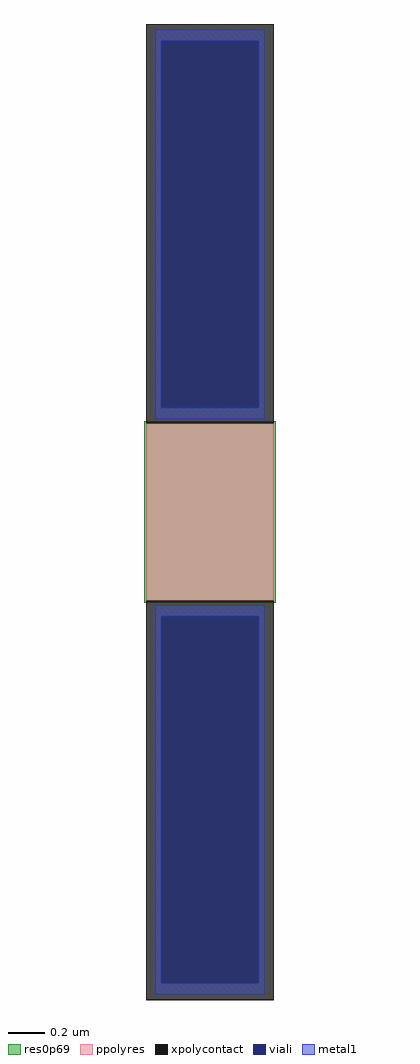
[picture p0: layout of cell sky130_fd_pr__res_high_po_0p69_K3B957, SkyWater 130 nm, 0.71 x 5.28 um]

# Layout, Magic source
magic
tech sky130A
magscale 1 2
<< xpolycontact >>
rect -69 96 69 528
rect -69 -528 69 -96
<< ppolyres >>
rect -69 -96 69 96
<< viali >>
rect -53 113 53 510
rect -53 -510 53 -113
<< metal1 >>
rect -59 510 59 522
rect -59 113 -53 510
rect 53 113 59 510
rect -59 101 59 113
rect -59 -113 59 -101
rect -59 -510 -53 -113
rect 53 -510 59 -113
rect -59 -522 59 -510
<< res0p69 >>
rect -71 -98 71 98
<< properties >>
string gencell sky130_fd_pr__res_high_po_0p69
string parameters w 0.690 l .96 m 1 nx 1 wmin 0.690 lmin 0.50 rho 319.8 val 500.556 dummy 0 dw 0.0 term 19.188 sterm 0.0 caplen 0 guard 0 glc 0 grc 0 gtc 0 gbc 0 compatible {sky130_fd_pr__res_high_po_0p35  sky130_fd_pr__res_high_po_0p69 sky130_fd_pr__res_high_po_1p41  sky130_fd_pr__res_high_po_2p85 sky130_fd_pr__res_high_po_5p73} full_metal 0 wmax 0.690 n_guard 0 hv_guard 0 vias 1 viagb 0 viagt 0 viagl 0 viagr 0
string library sky130
<< end >>
